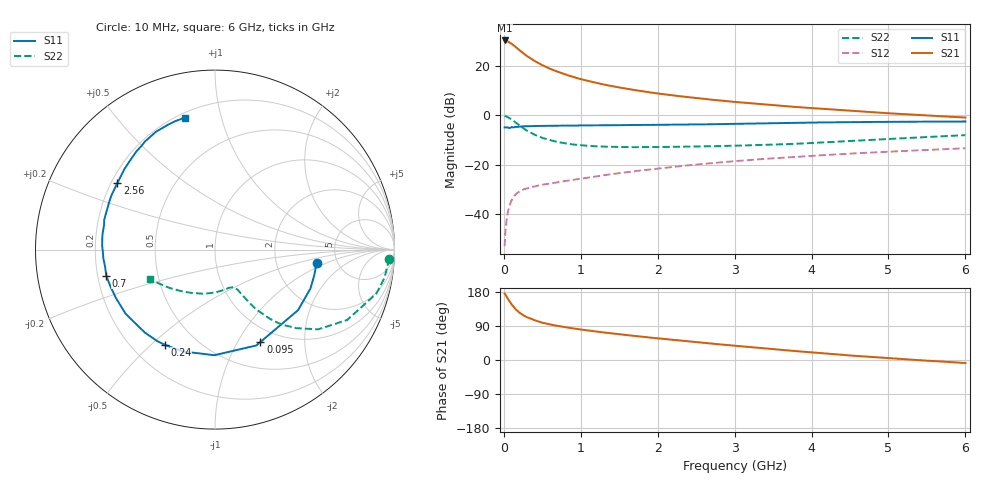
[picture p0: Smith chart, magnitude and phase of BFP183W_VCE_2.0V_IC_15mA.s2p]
! Infineon Technologies  Discrete & RF Semiconductors
! BFP183W
! VCE = 2.0 V,  IC =  15 mA
! Common Emitter S-Parameters:  Jan 2016
# GHz  S  MA  R  50
!  f  S11  S21  S12  S22
! GHz  MAG  ANG  MAG  ANG  MAG  ANG  MAG  ANG
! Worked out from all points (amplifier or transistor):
!   210 points, 10 MHz to 6 GHz, reference 50 ohm
!   highest |S21| = 30.5 dB at 10 MHz (marker M1)
!   |S21| within 3 dB of that: start of sweep to 166.8 MHz
!   unconditionally stable (mu >= 1): 999.9 MHz to 5.288 GHz
!   at 185 MHz: K = 0.30, MSG = 29.2 dB, |S12| = -31.3 dB
!   at 1.52 GHz: K = 1.13, MAG = 15.1 dB, |S12| = -23.4 dB
!   at 6 GHz: K = 0.96, MSG = 6.2 dB, |S12| = -13.3 dB
!   S11 on the Smith chart (normalised r, x): 10 MHz: 3.49, -0.75; 95 MHz: 0.82, -1.25; 240 MHz: 0.33, -0.55; 700 MHz: 0.24, -0.11; 2.56 GHz: 0.22, +0.29; 6 GHz: 0.23, +0.77
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0.01  0.5718 -7.3  33.49 175.6  0.0022 88.9  0.972 -3.0
0.03  0.5743 -22.2  33.35 169.1  0.0062 82.5  0.9579 -9.3
0.05  0.5727 -36.1  32.32 162.0  0.0106 75.3  0.9317 -15.3
0.095  0.5736 -63.8  29.09 148.5  0.018 64.5  0.8422 -26.6
0.1  0.5817 -66.7  28.85 146.8  0.0188 63.8  0.8345 -28.0
0.15  0.5885 -90.4  24.97 134.3  0.0247 55.0  0.7263 -37.7
0.2  0.5952 -107.7  21.39 125.2  0.0283 49.5  0.6301 -44.0
0.24  0.5997 -117.9  19.08 119.8  0.0305 46.8  0.5684 -47.7
0.3  0.6054 -130.2  16.13 112.8  0.033 44.0  0.491 -51.6
0.4  0.613 -144.3  12.81 104.6  0.0362 41.6  0.4056 -55.4
0.5  0.6143 -153.9  10.54 98.4  0.0391 41.9  0.3506 -57.2
0.6  0.618 -160.7  8.903 93.7  0.0412 42.3  0.314 -58.2
0.7  0.6227 -166.6  7.747 89.9  0.0438 43.6  0.2887 -59.1
0.8  0.6198 -171.2  6.793 86.3  0.0466 44.7  0.2705 -59.8
1.02  0.6251 -179.3  5.379 80.0  0.0523 47.2  0.247 -61.7
1.4  0.6324 169.8  3.963 70.3  0.0639 50.1  0.2304 -65.9
2.02  0.646 156.0  2.776 56.8  0.0842 51.8  0.2279 -75.5
2.56  0.6582 145.8  2.206 46.0  0.1024 51.1  0.2351 -85.8
3.1  0.6792 136.4  1.83 35.9  0.121 49.0  0.245 -97.5
4.1  0.7201 121.7  1.379 18.6  0.1544 43.8  0.2795 -121.2
5.1  0.7434 110.5  1.086 3.6  0.1864 37.8  0.3384 -142.1
6  0.7538 103.0  0.907 -8.0  0.2153 32.4  0.398 -155.8
